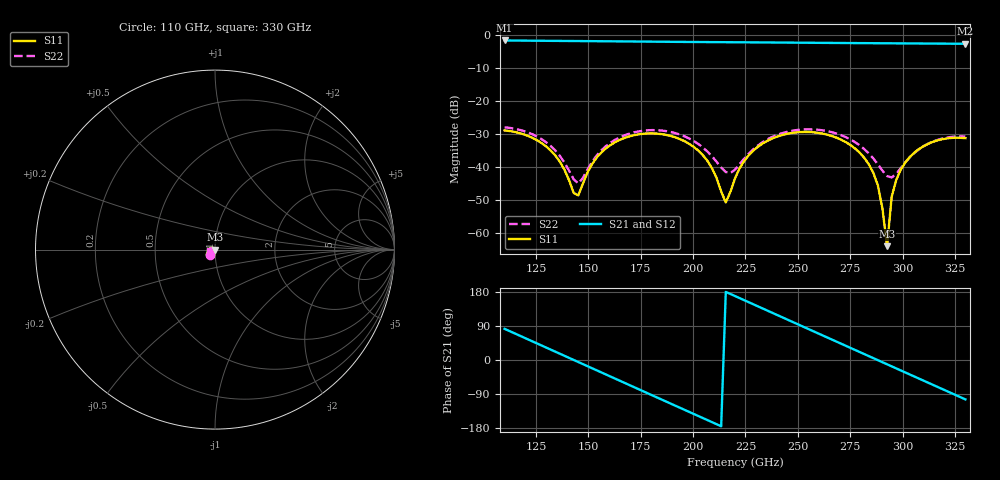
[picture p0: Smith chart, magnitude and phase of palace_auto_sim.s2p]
#  GHZ S DB R 50
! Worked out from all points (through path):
!   101 points, 110 GHz to 330 GHz, reference 50 ohm
!   highest |S21| = -1.59 dB at 110 GHz (marker M1); lowest = -2.6 dB at 330 GHz (marker M2)
!   group delay of S21, straight-line fit = 6.9 ps
!   lowest |S11| = -64.0 dB at 292.6 GHz (marker M3), VSWR 1.00, Z = 50 - j0.063 ohm
!   |S11| at or under -10 dB: start of sweep to end of sweep
!   |S22| runs from -44.9 to -27.9 dB; largest |S21 - S12| = 9.3e-14
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110  -28.87 -137.5  -1.59 82.2  -1.59 82.2  -27.94 -132.6
132  -34.96 171.5  -1.70 27.5  -1.70 27.5  -33.59 179.8
143  -47.85 -167.8  -1.76 0.1  -1.76 0.1  -43.72 -163.1
145.2  -48.57 -124.9  -1.77 -5.4  -1.77 -5.4  -44.92 -135.8
147.4  -44.97 -98.3  -1.78 -10.9  -1.78 -10.9  -43.30 -110.4
160.6  -33.27 -102.8  -1.84 -43.7  -1.84 -43.7  -32.57 -100.9
173.8  -30.07 -133.0  -1.91 -76.6  -1.91 -76.6  -29.18 -127.7
184.8  -29.98 -159.5  -1.97 -103.9  -1.97 -103.9  -28.90 -151.8
204.6  -36.34 156.9  -2.07 -153.0  -2.07 -153.0  -34.01 173.2
215.6  -50.72 -152.2  -2.11 179.7  -2.11 179.7  -41.49 -162.7
220  -43.38 -97.6  -2.13 168.8  -2.13 168.8  -40.78 -128.7
233.2  -32.84 -111.8  -2.18 136.0  -2.18 136.0  -32.43 -116.4
257.4  -29.43 -167.6  -2.29 75.9  -2.29 75.9  -28.56 -161.5
272.8  -32.39 155.4  -2.36 37.7  -2.36 37.7  -30.88 168.6
283.8  -39.05 129.2  -2.41 10.5  -2.41 10.5  -35.79 155.3
288.2  -45.50 119.3  -2.43 -0.4  -2.43 -0.4  -39.14 159.0
290.4  -52.60 115.7  -2.44 -5.9  -2.44 -5.9  -41.07 166.9
292.6  -63.97 -84.0  -2.44 -11.3  -2.44 -11.3  -42.71 -178.5
294.8  -48.99 -79.9  -2.45 -16.8  -2.45 -16.8  -43.14 -158.4
299.2  -40.72 -89.2  -2.47 -27.7  -2.47 -27.7  -40.26 -129.9
305.8  -35.50 -104.6  -2.50 -44.0  -2.50 -44.0  -35.61 -123.5
330  -31.23 -159.1  -2.59 -104.0  -2.59 -104.0  -30.71 -160.4
